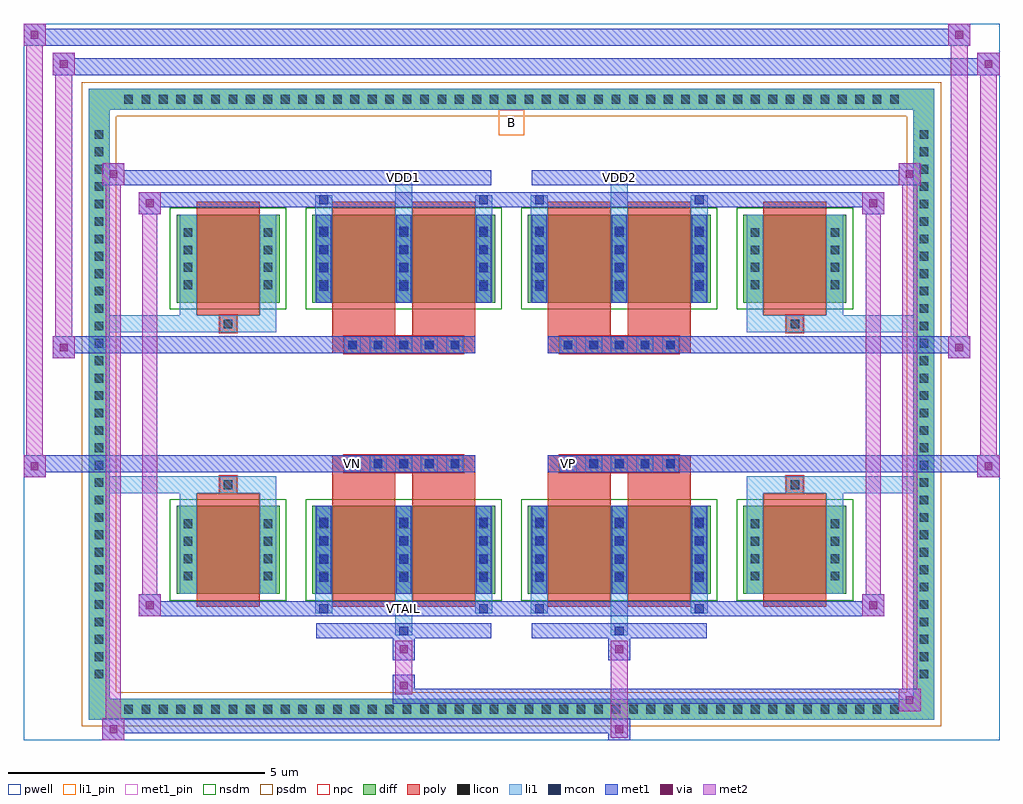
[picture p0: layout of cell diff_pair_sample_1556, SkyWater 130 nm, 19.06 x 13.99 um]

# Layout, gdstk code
import gdstk
lib = gdstk.Library(unit=1e-6, precision=5e-09)
def R(c, l, rs):  # rectangles x0, y0, x1, y1
    for r in rs: c.add(gdstk.rectangle(r[:2], r[2:], *l))
def A(c, l, x, y, w, h, nx, ny, dx, dy):  # array of equal rectangles
    R(c, l, [(x+i*dx, y+j*dy, x+i*dx+w, y+j*dy+h) for i in range(nx) for j in range(ny)])
def P(c, l, *ps):  # polygons
    for p in ps: c.add(gdstk.Polygon(p, *l))
pwell = (64, 44)
diff = (65, 20)
poly = (66, 20)
licon = (66, 44)
li1_pin = (67, 16)
li1 = (67, 20)
mcon = (67, 44)
met1_pin = (68, 16)
met1 = (68, 20)
via = (68, 44)
met2 = (69, 20)
nsdm = (93, 44)
psdm = (94, 20)
npc = (95, 20)

diff_pair_sample_1556 = lib.new_cell('diff_pair_sample_1556')
R(diff_pair_sample_1556, pwell, [(-9.53,-6.56,9.53,7.43), (-6.85,-4.75,-0.01,-0.795), (0.01,-4.75,6.85,-0.795), (-6.85,0.795,-0.01,4.75), (0.01,0.795,6.85,4.75)])
A(diff_pair_sample_1556, diff, -7.685, -6.16, 0.41, 0.41, 45, 2, 0.34, 11.91)
A(diff_pair_sample_1556, diff, -8.26, -5.475, 0.41, 0.41, 1, 32, 0, 0.34)
A(diff_pair_sample_1556, diff, 7.85, -5.475, 0.41, 0.41, 1, 32, 0, 0.34)
R(diff_pair_sample_1556, diff, [(-7.685,-6.16,7.685,-5.75), (-8.26,-5.475,-7.85,5.475), (7.85,-5.475,8.26,5.475), (-6.54,-3.705,-4.53,-1.985), (-3.89,-3.705,-0.32,-1.985), (0.32,-3.705,3.89,-1.985), (4.53,-3.705,6.54,-1.985), (-6.54,1.985,-4.53,3.705), (-3.89,1.985,-0.32,3.705), (0.32,1.985,3.89,3.705), (4.53,1.985,6.54,3.705), (-7.685,5.75,7.685,6.16)])
P(diff_pair_sample_1556, diff, [(8.26,6.16),(-8.26,6.16),(-8.26,-5.75),(-7.85,-5.75),(-7.85,5.75),(7.85,5.75),(7.85,-5.75),(-7.85,-5.75),(-8.26,-5.75),(-8.26,-6.16),(8.26,-6.16)])
A(diff_pair_sample_1556, poly, -3.27, -1.325, 0.33, 0.33, 5, 2, 0.5, 2.32)
A(diff_pair_sample_1556, poly, 0.94, -1.325, 0.33, 0.33, 5, 2, 0.5, 2.32)
R(diff_pair_sample_1556, poly, [(-6.15,-3.955,-4.92,-1.735), (-3.5,-3.955,-2.27,-1.735), (-1.94,-3.955,-0.71,-1.735), (0.71,-3.955,1.94,-1.735), (2.27,-3.955,3.5,-1.735), (4.92,-3.955,6.15,-1.735), (-5.7,-1.735,-5.37,-1.405), (-5.7,-1.735,-5.37,-1.405), (-3.5,-1.735,-2.27,-1.325), (-1.94,-1.735,-0.71,-1.325), (0.71,-1.735,1.94,-1.325), (2.27,-1.735,3.5,-1.325), (5.37,-1.735,5.7,-1.405), (5.37,-1.735,5.7,-1.405), (-3.5,-1.325,-0.71,-0.995), (0.71,-1.325,3.5,-0.995), (-3.5,0.995,-0.71,1.325), (0.71,0.995,3.5,1.325), (-3.5,1.325,-2.27,1.735), (-1.94,1.325,-0.71,1.735), (0.71,1.325,1.94,1.735), (2.27,1.325,3.5,1.735), (-5.7,1.405,-5.37,1.735), (-5.7,1.405,-5.37,1.735), (5.37,1.405,5.7,1.735), (5.37,1.405,5.7,1.735), (-6.15,1.735,-4.92,3.955), (-3.5,1.735,-2.27,3.955), (-1.94,1.735,-0.71,3.955), (0.71,1.735,1.94,3.955), (2.27,1.735,3.5,3.955), (4.92,1.735,6.15,3.955)])
A(diff_pair_sample_1556, licon, -7.565, -6.04, 0.17, 0.17, 45, 2, 0.34, 11.91)
A(diff_pair_sample_1556, licon, -8.14, -5.355, 0.17, 0.17, 1, 32, 0, 0.34)
A(diff_pair_sample_1556, licon, 7.97, -5.355, 0.17, 0.17, 1, 32, 0, 0.34)
A(diff_pair_sample_1556, licon, -6.4, -3.44, 0.17, 0.17, 1, 4, 0, 0.34)
A(diff_pair_sample_1556, licon, -4.84, -3.44, 0.17, 0.17, 1, 4, 0, 0.34)
A(diff_pair_sample_1556, licon, -3.75, -3.44, 0.17, 0.17, 3, 4, 1.56, 0.34)
A(diff_pair_sample_1556, licon, 0.46, -3.44, 0.17, 0.17, 3, 4, 1.56, 0.34)
A(diff_pair_sample_1556, licon, 4.67, -3.44, 0.17, 0.17, 1, 4, 0, 0.34)
A(diff_pair_sample_1556, licon, 6.23, -3.44, 0.17, 0.17, 1, 4, 0, 0.34)
A(diff_pair_sample_1556, licon, -3.19, -1.245, 0.17, 0.17, 5, 2, 0.5, 2.32)
A(diff_pair_sample_1556, licon, 1.02, -1.245, 0.17, 0.17, 5, 2, 0.5, 2.32)
A(diff_pair_sample_1556, licon, -6.4, 2.25, 0.17, 0.17, 1, 4, 0, 0.34)
A(diff_pair_sample_1556, licon, -4.84, 2.25, 0.17, 0.17, 1, 4, 0, 0.34)
A(diff_pair_sample_1556, licon, -3.75, 2.25, 0.17, 0.17, 3, 4, 1.56, 0.34)
A(diff_pair_sample_1556, licon, 0.46, 2.25, 0.17, 0.17, 3, 4, 1.56, 0.34)
A(diff_pair_sample_1556, licon, 4.67, 2.25, 0.17, 0.17, 1, 4, 0, 0.34)
A(diff_pair_sample_1556, licon, 6.23, 2.25, 0.17, 0.17, 1, 4, 0, 0.34)
R(diff_pair_sample_1556, licon, [(-5.62,-1.655,-5.45,-1.485), (5.45,-1.655,5.62,-1.485), (-5.62,1.485,-5.45,1.655), (5.45,1.485,5.62,1.655)])
R(diff_pair_sample_1556, li1_pin, [(-0.25,5.25,0.25,5.75)])
A(diff_pair_sample_1556, li1, -7.645, -6.12, 0.33, 0.33, 45, 2, 0.34, 11.91)
A(diff_pair_sample_1556, li1, -8.22, -5.435, 0.33, 0.33, 1, 32, 0, 0.34)
A(diff_pair_sample_1556, li1, 7.89, -5.435, 0.33, 0.33, 1, 32, 0, 0.34)
A(diff_pair_sample_1556, li1, -3.83, -3.705, 0.33, 1.72, 3, 2, 1.56, 5.69)
A(diff_pair_sample_1556, li1, 0.38, -3.705, 0.33, 1.72, 3, 2, 1.56, 5.69)
A(diff_pair_sample_1556, li1, -6.48, -3.52, 0.33, 0.33, 1, 4, 0, 0.34)
A(diff_pair_sample_1556, li1, -4.92, -3.52, 0.33, 0.33, 1, 4, 0, 0.34)
A(diff_pair_sample_1556, li1, -3.83, -3.52, 0.33, 0.33, 3, 4, 1.56, 0.34)
A(diff_pair_sample_1556, li1, 0.38, -3.52, 0.33, 0.33, 3, 4, 1.56, 0.34)
A(diff_pair_sample_1556, li1, 4.59, -3.52, 0.33, 0.33, 1, 4, 0, 0.34)
A(diff_pair_sample_1556, li1, 6.15, -3.52, 0.33, 0.33, 1, 4, 0, 0.34)
A(diff_pair_sample_1556, li1, -3.75, -3.47, 0.17, 0.17, 3, 4, 1.56, 0.36)
A(diff_pair_sample_1556, li1, -3.75, -3.47, 0.17, 1.25, 3, 2, 1.56, 5.69)
A(diff_pair_sample_1556, li1, 0.46, -3.47, 0.17, 0.17, 3, 4, 1.56, 0.36)
A(diff_pair_sample_1556, li1, 0.46, -3.47, 0.17, 1.25, 3, 2, 1.56, 5.69)
A(diff_pair_sample_1556, li1, -3.27, -1.325, 0.33, 0.33, 5, 2, 0.5, 2.32)
A(diff_pair_sample_1556, li1, 0.94, -1.325, 0.33, 0.33, 5, 2, 0.5, 2.32)
A(diff_pair_sample_1556, li1, -6.48, 2.17, 0.33, 0.33, 1, 4, 0, 0.34)
A(diff_pair_sample_1556, li1, -4.92, 2.17, 0.33, 0.33, 1, 4, 0, 0.34)
A(diff_pair_sample_1556, li1, -3.83, 2.17, 0.33, 0.33, 3, 4, 1.56, 0.34)
A(diff_pair_sample_1556, li1, 0.38, 2.17, 0.33, 0.33, 3, 4, 1.56, 0.34)
A(diff_pair_sample_1556, li1, 4.59, 2.17, 0.33, 0.33, 1, 4, 0, 0.34)
A(diff_pair_sample_1556, li1, 6.15, 2.17, 0.33, 0.33, 1, 4, 0, 0.34)
A(diff_pair_sample_1556, li1, -3.75, 2.22, 0.17, 0.17, 3, 4, 1.56, 0.36)
A(diff_pair_sample_1556, li1, 0.46, 2.22, 0.17, 0.17, 3, 4, 1.56, 0.36)
R(diff_pair_sample_1556, li1, [(-8.26,-6.16,-7.85,-5.75), (-8.26,-6.16,-7.85,-5.75), (-7.85,-6.16,7.85,-5.75), (7.85,-6.16,8.26,-5.75), (7.85,-6.16,8.26,-5.75), (-8.26,-5.75,-7.85,5.75), (7.85,-5.75,8.26,5.75), (-2.27,-4.51,-1.94,-3.705), (-2.19,-4.51,-2.02,-4.34), (1.94,-4.51,2.27,-3.705), (2.02,-4.51,2.19,-4.34), (-3.83,-4.08,-3.5,-3.705), (-3.75,-4.08,-3.58,-3.91), (-0.71,-4.08,-0.38,-3.705), (-0.63,-4.08,-0.46,-3.91), (0.38,-4.08,0.71,-3.705), (0.46,-4.08,0.63,-3.91), (3.5,-4.08,3.83,-3.705), (3.58,-4.08,3.75,-3.91), (-6.48,-3.705,-6.15,-1.985), (-4.92,-3.705,-4.59,-1.985), (4.59,-3.705,4.92,-1.985), (6.15,-3.705,6.48,-1.985), (-6.48,-1.985,-6.15,-1.405), (-4.92,-1.985,-4.59,-1.405), (4.59,-1.985,4.92,-1.405), (6.15,-1.985,6.48,-1.405), (-8.26,-1.735,-5.7,-1.405), (-6.48,-1.735,-5.7,-1.405), (-5.7,-1.735,-5.37,-1.405), (-5.37,-1.735,-4.59,-1.405), (4.59,-1.735,5.37,-1.405), (5.37,-1.735,5.7,-1.405), (5.37,-1.735,8.26,-1.405), (5.7,-1.735,6.48,-1.405), (-8.26,1.405,-5.7,1.735), (-6.48,1.405,-5.7,1.735), (-6.48,1.405,-6.15,1.985), (-5.7,1.405,-5.37,1.735), (-5.37,1.405,-4.59,1.735), (-4.92,1.405,-4.59,1.985), (4.59,1.405,5.37,1.735), (4.59,1.405,4.92,1.985), (5.37,1.405,5.7,1.735), (5.37,1.405,8.26,1.735), (5.7,1.405,6.48,1.735), (6.15,1.405,6.48,1.985), (-6.48,1.985,-6.15,3.705), (-4.92,1.985,-4.59,3.705), (4.59,1.985,4.92,3.705), (6.15,1.985,6.48,3.705), (-3.83,3.705,-3.5,4.08), (-2.27,3.705,-1.94,4.51), (-0.71,3.705,-0.38,4.08), (0.38,3.705,0.71,4.08), (1.94,3.705,2.27,4.51), (3.5,3.705,3.83,4.08), (-3.75,3.91,-3.58,4.08), (-0.63,3.91,-0.46,4.08), (0.46,3.91,0.63,4.08), (3.58,3.91,3.75,4.08), (-2.19,4.34,-2.02,4.51), (2.02,4.34,2.19,4.51), (-8.26,5.75,-7.85,6.16), (-8.26,5.75,-7.85,6.16), (-7.85,5.75,7.85,6.16), (7.85,5.75,8.26,6.16), (7.85,5.75,8.26,6.16)])
A(diff_pair_sample_1556, mcon, -3.75, -3.47, 0.17, 0.17, 3, 4, 1.56, 0.36)
A(diff_pair_sample_1556, mcon, 0.46, -3.47, 0.17, 0.17, 3, 4, 1.56, 0.36)
A(diff_pair_sample_1556, mcon, -3.19, -1.245, 0.17, 0.17, 5, 2, 0.5, 2.32)
A(diff_pair_sample_1556, mcon, 1.02, -1.245, 0.17, 0.17, 5, 2, 0.5, 2.32)
A(diff_pair_sample_1556, mcon, -3.75, 2.22, 0.17, 0.17, 3, 4, 1.56, 0.36)
A(diff_pair_sample_1556, mcon, 0.46, 2.22, 0.17, 0.17, 3, 4, 1.56, 0.36)
R(diff_pair_sample_1556, mcon, [(-2.19,-4.51,-2.02,-4.34), (2.02,-4.51,2.19,-4.34), (-3.75,-4.08,-3.58,-3.91), (-0.63,-4.08,-0.46,-3.91), (0.46,-4.08,0.63,-3.91), (3.58,-4.08,3.75,-3.91), (-3.75,3.91,-3.58,4.08), (-0.63,3.91,-0.46,4.08), (0.46,3.91,0.63,4.08), (3.58,3.91,3.75,4.08), (-2.19,4.34,-2.02,4.51), (2.02,4.34,2.19,4.51)])
R(diff_pair_sample_1556, met1_pin, [(-2.24,-4.12,-1.97,-3.85), (-3.24,-1.285,-2.97,-1.015), (0.97,-1.285,1.24,-1.015), (-2.24,4.3,-1.97,4.57), (1.97,4.3,2.24,4.57)])
A(diff_pair_sample_1556, met1, -3.81, -3.705, 0.29, 1.72, 3, 2, 1.56, 5.69)
A(diff_pair_sample_1556, met1, 0.4, -3.705, 0.29, 1.72, 3, 2, 1.56, 5.69)
A(diff_pair_sample_1556, met1, -3.81, -3.53, 0.29, 0.29, 3, 4, 1.56, 0.36)
A(diff_pair_sample_1556, met1, 0.4, -3.53, 0.29, 0.29, 3, 4, 1.56, 0.36)
A(diff_pair_sample_1556, met1, -3.25, -1.305, 0.29, 0.29, 5, 2, 0.5, 2.32)
A(diff_pair_sample_1556, met1, 0.96, -1.305, 0.29, 0.29, 5, 2, 0.5, 2.32)
A(diff_pair_sample_1556, met1, -3.81, 2.16, 0.29, 0.29, 3, 4, 1.56, 0.36)
A(diff_pair_sample_1556, met1, 0.4, 2.16, 0.29, 0.29, 3, 4, 1.56, 0.36)
R(diff_pair_sample_1556, met1, [(-7.99,-6.56,-7.56,-6.13), (1.89,-6.56,2.32,-6.13), (-7.99,-6.42,2.32,-6.13), (7.56,-5.99,7.99,-5.56), (-2.32,-5.85,7.99,-5.56), (-2.32,-5.71,-1.89,-5.28), (-2.32,-5,-1.89,-4.57), (1.89,-5,2.32,-4.57), (-3.81,-4.57,-0.4,-4.28), (-2.25,-4.57,-1.96,-4.28), (0.4,-4.57,3.81,-4.28), (1.96,-4.57,2.25,-4.28), (-7.28,-4.14,-6.85,-3.71), (-7.28,-4.14,-3.81,-3.85), (-3.81,-4.14,-3.52,-3.85), (-3.81,-4.14,-0.4,-3.85), (-0.69,-4.14,-0.4,-3.85), (-0.4,-4.14,0.4,-3.85), (0.4,-4.14,0.69,-3.85), (0.4,-4.14,3.81,-3.85), (3.52,-4.14,3.81,-3.85), (3.81,-4.14,7.28,-3.85), (6.85,-4.14,7.28,-3.71), (-9.53,-1.425,-9.1,-0.995), (9.1,-1.425,9.53,-0.995), (-9.53,-1.325,-0.71,-0.995), (-3.5,-1.325,-0.71,-0.995), (0.71,-1.325,3.5,-0.995), (0.71,-1.325,9.53,-0.995), (-8.96,0.895,-8.53,1.325), (8.53,0.895,8.96,1.325), (-8.96,0.995,-3.5,1.325), (-3.5,0.995,-0.71,1.325), (0.71,0.995,3.5,1.325), (3.5,0.995,8.96,1.325), (-7.28,3.71,-6.85,4.14), (6.85,3.71,7.28,4.14), (-7.28,3.85,-3.81,4.14), (-3.81,3.85,-3.52,4.14), (-3.81,3.85,-0.4,4.14), (-0.69,3.85,-0.4,4.14), (-0.4,3.85,0.4,4.14), (0.4,3.85,0.69,4.14), (0.4,3.85,3.81,4.14), (3.52,3.85,3.81,4.14), (3.81,3.85,7.28,4.14), (-7.99,4.28,-7.56,4.71), (-7.99,4.28,-3.81,4.57), (-3.81,4.28,-0.4,4.57), (-2.25,4.28,-1.96,4.57), (0.4,4.28,3.81,4.57), (1.96,4.28,2.25,4.57), (3.81,4.28,7.99,4.57), (7.56,4.28,7.99,4.71), (-8.96,6.43,-8.53,6.86), (-8.96,6.43,-6.85,6.76), (-6.85,6.43,6.85,6.76), (6.85,6.43,9.53,6.76), (9.1,6.43,9.53,6.86), (-9.53,7,-9.1,7.43), (-9.53,7,-6.85,7.33), (-6.85,7,6.85,7.33), (6.85,7,8.96,7.33), (8.53,7,8.96,7.43)])
R(diff_pair_sample_1556, via, [(-7.85,-6.42,-7.7,-6.27), (2.03,-6.42,2.18,-6.27), (7.7,-5.85,7.85,-5.7), (-2.18,-5.57,-2.03,-5.42), (-2.18,-4.86,-2.03,-4.71), (2.03,-4.86,2.18,-4.71), (-7.14,-4,-6.99,-3.85), (6.99,-4,7.14,-3.85), (-9.39,-1.285,-9.24,-1.135), (9.24,-1.285,9.39,-1.135), (-8.82,1.035,-8.67,1.185), (8.67,1.035,8.82,1.185), (-7.14,3.85,-6.99,4), (6.99,3.85,7.14,4), (-7.85,4.42,-7.7,4.57), (7.7,4.42,7.85,4.57), (-8.82,6.57,-8.67,6.72), (9.24,6.57,9.39,6.72), (-9.39,7.14,-9.24,7.29), (8.67,7.14,8.82,7.29)])
R(diff_pair_sample_1556, met2, [(-7.99,-6.56,-7.56,-6.13), (-7.92,-6.56,-7.63,4.71), (-7.63,-6.56,-7.56,-6.13), (-7.94,-6.51,-7.61,-6.18), (1.94,-6.51,2.27,-6.18), (1.94,-6.18,2.27,-4.95), (7.56,-5.99,7.99,-5.56), (7.63,-5.99,7.92,4.71), (7.92,-5.99,7.99,-5.56), (7.61,-5.94,7.94,-5.61), (-2.27,-5.66,-1.94,-5.33), (-2.27,-5.33,-1.94,-4.95), (-2.27,-4.95,-1.94,-4.62), (1.94,-4.95,2.27,-4.62), (-7.28,-4.14,-6.85,-3.71), (-7.21,-4.14,-6.92,4.14), (-6.92,-4.14,-6.85,-3.71), (6.85,-4.14,7.28,-3.71), (6.92,-4.14,7.21,4.14), (7.21,-4.14,7.28,-3.71), (-7.23,-4.09,-6.9,-3.76), (6.9,-4.09,7.23,-3.76), (-9.53,-1.425,-9.1,-0.995), (-9.48,-1.425,-9.15,7.43), (-9.15,-1.425,-9.1,-0.995), (9.1,-1.425,9.53,-0.995), (9.15,-1.425,9.48,6.86), (9.48,-1.425,9.53,-0.995), (-9.48,-1.375,-9.15,-1.045), (9.15,-1.375,9.48,-1.045), (-8.96,0.895,-8.53,1.325), (-8.91,0.895,-8.58,6.86), (-8.58,0.895,-8.53,1.325), (8.53,0.895,8.96,1.325), (8.58,0.895,8.91,7.43), (8.91,0.895,8.96,1.325), (-8.91,0.945,-8.58,1.275), (8.58,0.945,8.91,1.275), (-7.28,3.71,-6.85,4.14), (-6.92,3.71,-6.85,4.14), (6.85,3.71,7.28,4.14), (7.21,3.71,7.28,4.14), (-7.23,3.76,-6.9,4.09), (6.9,3.76,7.23,4.09), (-7.99,4.28,-7.56,4.71), (-7.63,4.28,-7.56,4.71), (7.56,4.28,7.99,4.71), (7.92,4.28,7.99,4.71), (-7.94,4.33,-7.61,4.66), (7.61,4.33,7.94,4.66), (-8.96,6.43,-8.53,6.86), (-8.58,6.43,-8.53,6.86), (9.1,6.43,9.53,6.86), (9.48,6.43,9.53,6.86), (-8.91,6.48,-8.58,6.81), (9.15,6.48,9.48,6.81), (-9.53,7,-9.1,7.43), (-9.15,7,-9.1,7.43), (8.53,7,8.96,7.43), (8.91,7,8.96,7.43), (-9.48,7.05,-9.15,7.38), (8.58,7.05,8.91,7.38)])
R(diff_pair_sample_1556, nsdm, [(-6.67,-3.835,-4.4,-1.855), (-4.02,-3.835,-0.19,-1.855), (0.19,-3.835,4.02,-1.855), (4.4,-3.835,6.67,-1.855), (-6.67,1.855,-4.4,3.835), (-4.02,1.855,-0.19,3.835), (0.19,1.855,4.02,3.835), (4.4,1.855,6.67,3.835)])
P(diff_pair_sample_1556, psdm, [(8.39,6.29),(-8.39,6.29),(-8.39,-5.62),(-7.72,-5.62),(-7.72,5.62),(7.72,5.62),(7.72,-5.62),(-7.72,-5.62),(-8.39,-5.62),(-8.39,-6.29),(8.39,-6.29)])
A(diff_pair_sample_1556, npc, -3.29, -1.345, 0.37, 0.37, 5, 2, 0.5, 2.32)
A(diff_pair_sample_1556, npc, 0.92, -1.345, 0.37, 0.37, 5, 2, 0.5, 2.32)
R(diff_pair_sample_1556, npc, [(-5.72,-1.755,-5.35,-1.385), (5.35,-1.755,5.72,-1.385), (-3.29,-1.345,-2.42,-0.975), (-3.29,-1.345,-2.42,-0.975), (-2.79,-1.345,-1.92,-0.975), (-2.79,-1.345,-1.92,-0.975), (-2.29,-1.345,-1.42,-0.975), (-2.29,-1.345,-1.42,-0.975), (-1.79,-1.345,-0.92,-0.975), (-1.79,-1.345,-0.92,-0.975), (0.92,-1.345,1.79,-0.975), (0.92,-1.345,1.79,-0.975), (1.42,-1.345,2.29,-0.975), (1.42,-1.345,2.29,-0.975), (1.92,-1.345,2.79,-0.975), (1.92,-1.345,2.79,-0.975), (2.42,-1.345,3.29,-0.975), (2.42,-1.345,3.29,-0.975), (-3.29,0.975,-2.42,1.345), (-3.29,0.975,-2.42,1.345), (-2.79,0.975,-1.92,1.345), (-2.79,0.975,-1.92,1.345), (-2.29,0.975,-1.42,1.345), (-2.29,0.975,-1.42,1.345), (-1.79,0.975,-0.92,1.345), (-1.79,0.975,-0.92,1.345), (0.92,0.975,1.79,1.345), (0.92,0.975,1.79,1.345), (1.42,0.975,2.29,1.345), (1.42,0.975,2.29,1.345), (1.92,0.975,2.79,1.345), (1.92,0.975,2.79,1.345), (2.42,0.975,3.29,1.345), (2.42,0.975,3.29,1.345), (-5.72,1.385,-5.35,1.755), (5.35,1.385,5.72,1.755)])
diff_pair_sample_1556.add(gdstk.Label('VTAIL', (-2.105,-3.985), layer=68, texttype=5))
diff_pair_sample_1556.add(gdstk.Label('VN', (-3.105,-1.15), layer=68, texttype=5))
diff_pair_sample_1556.add(gdstk.Label('VP', (1.105,-1.15), layer=68, texttype=5))
diff_pair_sample_1556.add(gdstk.Label('B', (0,5.5), layer=67, texttype=5))
diff_pair_sample_1556.add(gdstk.Label('VDD2', (2.105,4.435), layer=68, texttype=5))
diff_pair_sample_1556.add(gdstk.Label('VDD1', (-2.105,4.435), layer=68, texttype=5))

lib.write_gds('diff_pair_sample_1556.gds')
